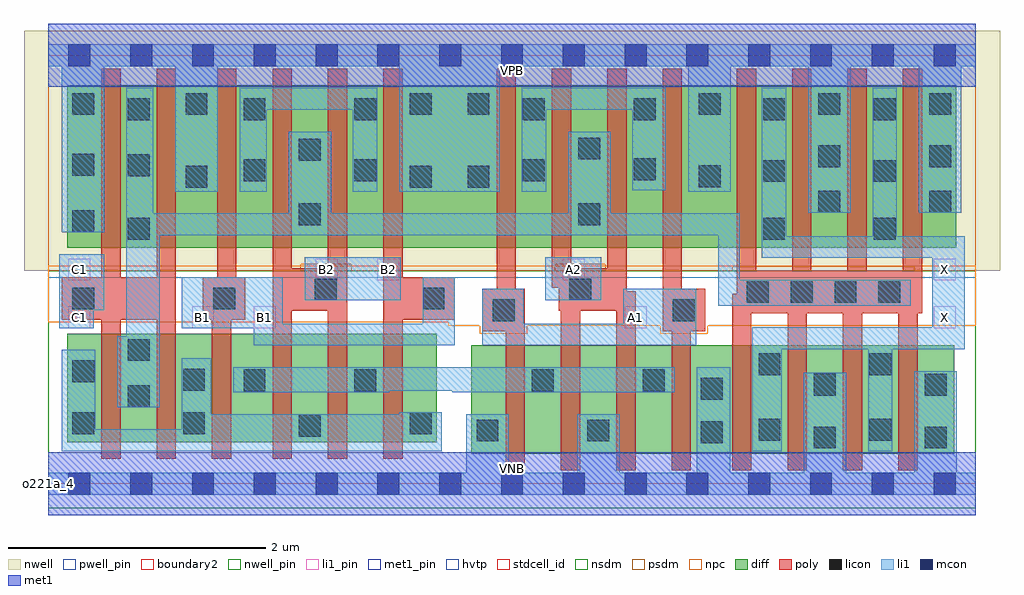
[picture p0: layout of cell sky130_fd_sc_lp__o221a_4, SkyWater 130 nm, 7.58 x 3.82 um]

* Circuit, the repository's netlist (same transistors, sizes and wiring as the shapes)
* Copyright 2020 The SkyWater PDK Authors
*
* Licensed under the Apache License, Version 2.0 (the "License");
* you may not use this file except in compliance with the License.
* You may obtain a copy of the License at
*
*     https://www.apache.org/licenses/LICENSE-2.0
*
* Unless required by applicable law or agreed to in writing, software
* distributed under the License is distributed on an "AS IS" BASIS,
* WITHOUT WARRANTIES OR CONDITIONS OF ANY KIND, either express or implied.
* See the License for the specific language governing permissions and
* limitations under the License.
*
* SPDX-License-Identifier: Apache-2.0

.SUBCKT sky130_fd_sc_lp__o221a_4 A1 A2 B1 B2 C1 VGND VNB VPB VPWR X
*.PININFO A1:I A2:I B1:I B2:I C1:I VGND:I VNB:I VPB:I VPWR:I X:O
MMPA0 VPWR A1 sndA1 VPB sky130_fd_pr__pfet_01v8_hvt m=2 w=1.26U l=0.15U mult=1
+ sa=0.265 sb=0.265 sd=0.28 area=0.063 perim=1.14
MMPA1 sndA1 A2 y VPB sky130_fd_pr__pfet_01v8_hvt m=2 w=1.26U l=0.15U mult=1 sa=0.265
+ sb=0.265 sd=0.28 area=0.063 perim=1.14
MMPB0 VPWR B1 sndB1 VPB sky130_fd_pr__pfet_01v8_hvt m=2 w=1.26U l=0.15U mult=1
+ sa=0.265 sb=0.265 sd=0.28 area=0.063 perim=1.14
MMPB1 sndB1 B2 y VPB sky130_fd_pr__pfet_01v8_hvt m=2 w=1.26U l=0.15U mult=1 sa=0.265
+ sb=0.265 sd=0.28 area=0.063 perim=1.14
MMPC0 VPWR C1 y VPB sky130_fd_pr__pfet_01v8_hvt m=2 w=1.26U l=0.15U mult=1 sa=0.265
+ sb=0.265 sd=0.28 area=0.063 perim=1.14
MMIPX X y VPWR VPB sky130_fd_pr__pfet_01v8_hvt m=4 w=1.26U l=0.15U mult=1 sa=0.265
+ sb=0.265 sd=0.28 area=0.063 perim=1.14
MMNA0 pndA A1 VGND VNB sky130_fd_pr__nfet_01v8 m=2 w=0.84U l=0.15U mult=1 sa=0.265
+ sb=0.265 sd=0.28 area=0.063 perim=1.14
MMNA1 pndA A2 VGND VNB sky130_fd_pr__nfet_01v8 m=2 w=0.84U l=0.15U mult=1 sa=0.265
+ sb=0.265 sd=0.28 area=0.063 perim=1.14
MMNB0 pndB B1 pndA VNB sky130_fd_pr__nfet_01v8 m=2 w=0.84U l=0.15U mult=1 sa=0.265
+ sb=0.265 sd=0.28 area=0.063 perim=1.14
MMNB1 pndB B2 pndA VNB sky130_fd_pr__nfet_01v8 m=2 w=0.84U l=0.15U mult=1 sa=0.265
+ sb=0.265 sd=0.28 area=0.063 perim=1.14
MMNC0 y C1 pndB VNB sky130_fd_pr__nfet_01v8 m=2 w=0.84U l=0.15U mult=1 sa=0.265
+ sb=0.265 sd=0.28 area=0.063 perim=1.14
MMINX X y VGND VNB sky130_fd_pr__nfet_01v8 m=4 w=0.84U l=0.15U mult=1 sa=0.265
+ sb=0.265 sd=0.28 area=0.063 perim=1.14
.ENDS sky130_fd_sc_lp__o221a_4

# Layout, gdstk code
import gdstk
lib = gdstk.Library(unit=1e-6, precision=1e-09)
def R(c, l, rs):  # rectangles x0, y0, x1, y1
    for r in rs: c.add(gdstk.rectangle(r[:2], r[2:], *l))
def A(c, l, x, y, w, h, nx, ny, dx, dy):  # array of equal rectangles
    R(c, l, [(x+i*dx, y+j*dy, x+i*dx+w, y+j*dy+h) for i in range(nx) for j in range(ny)])
def P(c, l, *ps):  # polygons
    for p in ps: c.add(gdstk.Polygon(p, *l))
nwell_pin = (64, 16)
nwell = (64, 20)
diff = (65, 20)
poly = (66, 20)
licon = (66, 44)
li1_pin = (67, 16)
li1 = (67, 20)
mcon = (67, 44)
met1_pin = (68, 16)
met1 = (68, 20)
hvtp = (78, 44)
stdcell_id = (81, 4)
nsdm = (93, 44)
psdm = (94, 20)
npc = (95, 20)
pwell_pin = (122, 16)
boundary2 = (236, 0)

sky130_fd_sc_lp__o221a_4 = lib.new_cell('sky130_fd_sc_lp__o221a_4')
R(sky130_fd_sc_lp__o221a_4, nwell_pin, [(0,3.085,7.2,3.33)])
R(sky130_fd_sc_lp__o221a_4, nwell, [(-0.19,1.655,7.39,3.52)])
R(sky130_fd_sc_lp__o221a_4, diff, [(3.285,0.235,7.035,1.075), (0.145,0.325,3.015,1.165), (0.145,1.835,7.05,3.095)])
P(sky130_fd_sc_lp__o221a_4, poly, [(0.99,3.225),(0.84,3.225),(0.84,1.605),(0.56,1.605),(0.56,3.225),(0.41,3.225),(0.41,1.605),(0.105,1.605),(0.105,1.275),(0.41,1.275),(0.41,0.195),(0.56,0.195),(0.56,1.275),(0.84,1.275),(0.84,0.195),(0.99,0.195)],
  [(1.53,1.605),(1.46,1.605),(1.46,3.225),(1.31,3.225),(1.31,1.605),(1.2,1.605),(1.2,1.275),(1.27,1.275),(1.27,0.195),(1.42,0.195),(1.42,1.275),(1.53,1.275)],
  [(2.32,3.225),(2.17,3.225),(2.17,1.675),(1.89,1.675),(1.89,3.225),(1.74,3.225),(1.74,0.195),(1.89,0.195),(1.89,1.345),(2.17,1.345),(2.17,0.195),(2.32,0.195)],
  [(3.155,1.605),(2.75,1.605),(2.75,3.225),(2.6,3.225),(2.6,0.195),(2.75,0.195),(2.75,1.275),(3.155,1.275)],
  [(3.7,1.515),(3.63,1.515),(3.63,3.225),(3.48,3.225),(3.48,1.515),(3.37,1.515),(3.37,1.185),(3.55,1.185),(3.55,0.105),(3.7,0.105)],
  [(4.56,1.495),(4.49,1.495),(4.49,3.225),(4.34,3.225),(4.34,1.675),(4.06,1.675),(4.06,3.225),(3.91,3.225),(3.91,1.525),(3.965,1.525),(3.965,1.345),(3.98,1.345),(3.98,0.105),(4.13,0.105),(4.13,1.345),(4.41,1.345),(4.41,0.105),(4.56,0.105)],
  [(5.1,1.515),(4.92,1.515),(4.92,3.225),(4.77,3.225),(4.77,1.185),(4.84,1.185),(4.84,0.105),(4.99,0.105),(4.99,1.185),(5.1,1.185)],
  [(6.785,3.225),(6.635,3.225),(6.635,1.655),(6.355,1.655),(6.355,3.225),(6.205,3.225),(6.205,1.655),(5.925,1.655),(5.925,3.225),(5.775,3.225),(5.775,1.655),(5.495,1.655),(5.495,3.225),(5.345,3.225),(5.345,1.475),(5.31,1.475),(5.31,0.105),(5.46,0.105),(5.46,1.325),(5.74,1.325),(5.74,0.105),(5.89,0.105),(5.89,1.325),(6.17,1.325),(6.17,0.105),(6.32,0.105),(6.32,1.325),(6.6,1.325),(6.6,0.105),(6.75,0.105),(6.75,1.325),(6.785,1.325)])
A(sky130_fd_sc_lp__o221a_4, licon, 5.425, 1.405, 0.17, 0.17, 4, 1, 0.34, 0)
R(sky130_fd_sc_lp__o221a_4, licon, [(5.945,0.275,6.115,0.445), (6.805,0.275,6.975,0.445), (5.065,0.315,5.235,0.485), (3.325,0.33,3.495,0.5), (4.185,0.33,4.355,0.5), (5.515,0.335,5.685,0.505), (6.375,0.335,6.545,0.505), (1.945,0.365,2.115,0.535), (0.185,0.385,0.355,0.555), (1.045,0.385,1.215,0.555), (2.805,0.385,2.975,0.555), (0.615,0.595,0.785,0.765), (5.065,0.655,5.235,0.825), (5.945,0.685,6.115,0.855), (6.805,0.685,6.975,0.855), (1.515,0.72,1.685,0.89), (2.375,0.72,2.545,0.89), (3.755,0.72,3.925,0.89), (4.615,0.72,4.785,0.89), (1.045,0.725,1.215,0.895), (0.185,0.79,0.355,0.96), (5.515,0.845,5.685,1.015), (6.375,0.845,6.545,1.015), (0.615,0.955,0.785,1.125), (3.45,1.265,3.62,1.435), (4.85,1.265,5.02,1.435), (0.185,1.355,0.355,1.525), (1.28,1.355,1.45,1.525), (2.905,1.355,3.075,1.525), (2.07,1.425,2.24,1.595), (4.045,1.425,4.215,1.595), (0.615,1.895,0.785,2.065), (5.55,1.895,5.72,2.065), (6.41,1.895,6.58,2.065), (0.185,1.955,0.355,2.125), (1.945,2.01,2.115,2.18), (4.115,2.01,4.285,2.18), (5.98,2.105,6.15,2.275), (6.84,2.105,7.01,2.275), (1.065,2.3,1.235,2.47), (2.805,2.3,2.975,2.47), (3.255,2.3,3.425,2.47), (5.05,2.305,5.22,2.475), (5.55,2.345,5.72,2.515), (6.41,2.345,6.58,2.515), (1.515,2.35,1.685,2.52), (2.375,2.35,2.545,2.52), (3.685,2.35,3.855,2.52), (4.545,2.36,4.715,2.53), (0.615,2.39,0.785,2.56), (0.185,2.395,0.355,2.565), (5.98,2.46,6.15,2.63), (6.84,2.46,7.01,2.63), (1.945,2.51,2.115,2.68), (4.115,2.52,4.285,2.69), (0.615,2.825,0.785,2.995), (1.515,2.825,1.685,2.995), (2.375,2.825,2.545,2.995), (3.685,2.825,3.855,2.995), (4.545,2.825,4.715,2.995), (5.55,2.825,5.72,2.995), (6.41,2.825,6.58,2.995), (0.185,2.865,0.355,3.035), (1.065,2.865,1.235,3.035), (2.805,2.865,2.975,3.035), (3.255,2.865,3.425,3.035), (5.05,2.865,5.22,3.035), (5.98,2.865,6.15,3.035), (6.84,2.865,7.01,3.035)])
R(sky130_fd_sc_lp__o221a_4, li1_pin, [(0.155,1.21,0.325,1.38), (1.115,1.21,1.285,1.38), (1.595,1.21,1.765,1.38), (4.475,1.21,4.645,1.38), (6.875,1.21,7.045,1.38), (0.155,1.58,0.325,1.75), (2.075,1.58,2.245,1.75), (2.555,1.58,2.725,1.75), (3.995,1.58,4.165,1.75), (6.875,1.58,7.045,1.75)])
R(sky130_fd_sc_lp__o221a_4, li1, [(1.99,1.425,2.735,1.76), (3.86,1.425,4.295,1.76)])
P(sky130_fd_sc_lp__o221a_4, li1, [(0.435,1.785),(0.085,1.785),(0.085,1.21),(0.35,1.21),(0.35,1.35),(0.435,1.35)],
  [(2.555,3.075),(1.485,3.075),(1.485,2.27),(1.695,2.27),(1.695,2.905),(2.365,2.905),(2.365,2.27),(2.555,2.27)],
  [(3.055,0.555),(2.725,0.555),(2.725,0.54),(1.265,0.54),(1.265,0.975),(1.035,0.975),(1.035,0.425),(0.365,0.425),(0.365,1.04),(0.105,1.04),(0.105,0.255),(3.055,0.255)],
  [(3.155,1.605),(2.905,1.605),(2.905,1.245),(1.82,1.245),(1.82,1.605),(1.035,1.605),(1.035,1.21),(1.595,1.21),(1.595,1.075),(3.155,1.075)],
  [(4.795,3.075),(3.675,3.075),(3.675,2.27),(3.865,2.27),(3.865,2.905),(4.535,2.905),(4.535,2.28),(4.795,2.28)],
  [(4.865,0.905),(1.435,0.905),(1.435,0.71),(2.645,0.71),(2.645,0.725),(3.135,0.725),(3.135,0.71),(4.865,0.71)],
  [(5.03,1.515),(4.465,1.515),(4.465,1.245),(3.69,1.245),(3.69,1.515),(3.37,1.515),(3.37,1.075),(5.03,1.075)],
  [(6.695,1.585),(5.37,1.585),(5.37,2.1),(4.365,2.1),(4.365,2.735),(4.035,2.735),(4.035,2.1),(2.195,2.1),(2.195,2.735),(1.865,2.735),(1.865,2.1),(0.815,2.1),(0.815,3.075),(0.605,3.075),(0.605,1.145),(0.535,1.145),(0.535,0.595),(0.865,0.595),(0.865,1.93),(5.2,1.93),(5.2,1.385),(6.695,1.385)],
  [(7.115,1.925),(6.59,1.925),(6.59,3.075),(6.4,3.075),(6.4,1.925),(5.73,1.925),(5.73,3.075),(5.54,3.075),(5.54,1.755),(6.865,1.755),(6.865,1.215),(5.465,1.215),(5.465,0.255),(5.695,0.255),(5.695,1.045),(6.365,1.045),(6.365,0.255),(6.555,0.255),(6.555,1.045),(7.115,1.045)],
  [(7.2,3.415),(0,3.415),(0,3.245),(0.105,3.245),(0.105,1.955),(0.435,1.955),(0.435,3.245),(0.985,3.245),(0.985,2.27),(1.315,2.27),(1.315,3.245),(2.725,3.245),(2.725,2.27),(3.505,2.27),(3.505,3.245),(4.97,3.245),(4.97,2.27),(5.3,2.27),(5.3,3.245),(5.9,3.245),(5.9,2.105),(6.23,2.105),(6.23,3.245),(6.76,3.245),(6.76,2.105),(7.09,2.105),(7.09,3.245),(7.2,3.245)],
  [(7.2,0.085),(7.055,0.085),(7.055,0.875),(6.725,0.875),(6.725,0.085),(6.195,0.085),(6.195,0.865),(5.865,0.865),(5.865,0.085),(5.295,0.085),(5.295,0.905),(5.035,0.905),(5.035,0.085),(4.435,0.085),(4.435,0.54),(4.105,0.54),(4.105,0.085),(3.575,0.085),(3.575,0.54),(3.245,0.54),(3.245,0.085),(0,0.085),(0,-0.085),(7.2,-0.085)])
A(sky130_fd_sc_lp__o221a_4, mcon, 0.155, -0.085, 0.17, 0.17, 15, 2, 0.48, 3.33)
R(sky130_fd_sc_lp__o221a_4, met1_pin, [(0,0,7.2,0.245), (0,3.085,7.2,3.33)])
R(sky130_fd_sc_lp__o221a_4, met1, [(0,-0.245,7.2,0.245), (0,3.085,7.2,3.575)])
R(sky130_fd_sc_lp__o221a_4, hvtp, [(0,1.6,7.2,3.33)])
R(sky130_fd_sc_lp__o221a_4, stdcell_id, [(0,0,7.2,3.33)])
R(sky130_fd_sc_lp__o221a_4, nsdm, [(0,-0.19,7.2,1.655)])
P(sky130_fd_sc_lp__o221a_4, psdm, [(7.2,3.52),(0,3.52),(0,1.655),(1.96,1.655),(1.96,1.705),(2.35,1.705),(2.35,1.655),(3.935,1.655),(3.935,1.705),(4.325,1.705),(4.325,1.655),(5.315,1.655),(5.315,1.685),(6.725,1.685),(6.725,1.655),(7.2,1.655)])
P(sky130_fd_sc_lp__o221a_4, npc, [(7.2,1.695),(0,1.695),(0,1.255),(3.105,1.255),(3.105,1.23),(3.35,1.23),(3.35,1.165),(3.72,1.165),(3.72,1.23),(4.75,1.23),(4.75,1.165),(5.12,1.165),(5.12,1.23),(7.2,1.23)])
R(sky130_fd_sc_lp__o221a_4, pwell_pin, [(0,0,7.2,0.245)])
R(sky130_fd_sc_lp__o221a_4, boundary2, [(0,0,7.2,3.33)])
sky130_fd_sc_lp__o221a_4.add(gdstk.Label('VNB', (3.6,0.123), layer=64, texttype=59))
sky130_fd_sc_lp__o221a_4.add(gdstk.Label('VPB', (3.6,3.208), layer=64, texttype=5))
sky130_fd_sc_lp__o221a_4.add(gdstk.Label('o221a_4', (0,0), layer=83, texttype=44))
sky130_fd_sc_lp__o221a_4.add(gdstk.Label('VPWR', (3.6,3.208), layer=68, texttype=5))
sky130_fd_sc_lp__o221a_4.add(gdstk.Label('VGND', (3.6,0.123), layer=68, texttype=5))
sky130_fd_sc_lp__o221a_4.add(gdstk.Label('A2', (4.08,1.665), layer=67, texttype=5))
sky130_fd_sc_lp__o221a_4.add(gdstk.Label('B2', (2.16,1.665), layer=67, texttype=5))
sky130_fd_sc_lp__o221a_4.add(gdstk.Label('B2', (2.64,1.665), layer=67, texttype=5))
sky130_fd_sc_lp__o221a_4.add(gdstk.Label('C1', (0.24,1.295), layer=67, texttype=5))
sky130_fd_sc_lp__o221a_4.add(gdstk.Label('C1', (0.24,1.665), layer=67, texttype=5))
sky130_fd_sc_lp__o221a_4.add(gdstk.Label('X', (6.96,1.295), layer=67, texttype=5))
sky130_fd_sc_lp__o221a_4.add(gdstk.Label('X', (6.96,1.665), layer=67, texttype=5))
sky130_fd_sc_lp__o221a_4.add(gdstk.Label('A1', (4.56,1.295), layer=67, texttype=5))
sky130_fd_sc_lp__o221a_4.add(gdstk.Label('B1', (1.2,1.295), layer=67, texttype=5))
sky130_fd_sc_lp__o221a_4.add(gdstk.Label('B1', (1.68,1.295), layer=67, texttype=5))

lib.write_gds('sky130_fd_sc_lp__o221a_4.gds')
